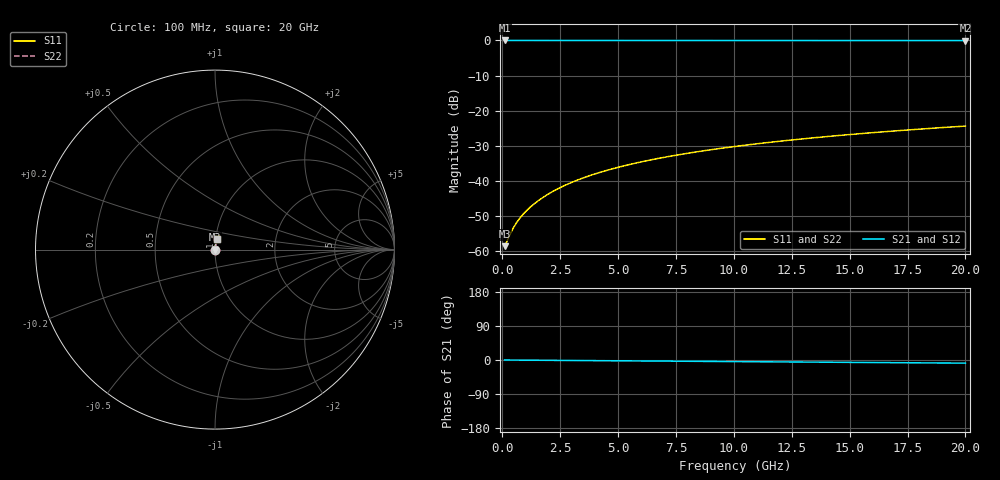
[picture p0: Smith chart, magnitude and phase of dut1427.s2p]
! Touchstone file exported from HFSS 2026.1.0
!  File:  C:/ffzhzh/LocalFiles/Ansys_Project_Files/temp_train_TMRDL_1427_1783166788_43440.aedt
!  Generated:  08:07:39 PM Jul  4, 2026
!  Design:  TMRDL
!  Project:  temp_train_TMRDL_1427_1783166788_43440
! Variables:
!  h_bsmrdl = 2um
!  h_ox = 20um
!  h_rdl = 5um
!  h_sub = 80um
!  h_tmrdl = 2.03um
!  h_tsv = 80um
!  h_via = 3um
!  l_bsmrdl = 300um
!  l_sub = 503.48um
!  l_tmrdl = 103.48um
!  m_sub = 200um
!  pitch = 42.18um
!  r_tsv = 6um
!  s_tmrdl = 10um
!  w_bsmrdl = 18um
!  w_sub = 500um
!  w_tmrdl = 29.87um
!  x_tsv_center1 = 118.415um
!  x_tsv_center2 = 436.415um
!  x_tsv_center3 = 569.765um
!  x_tsv_center4 = 887.765um
!  x_tsv_center5 = 1021.115um
!  x_tsv_center6 = 1339.115um
# GHz S MA R 50.000000
! Terminal data exported
! Port[1] = TM_RDL1_1_T1
! Port[2] = TM_RDL1_1_T2
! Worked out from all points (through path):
!   200 points, 100 MHz to 20 GHz, reference 50 ohm
!   highest |S21| = -0.01 dB at 100 MHz (marker M1); lowest = 0.0 dB at 20 GHz (marker M2)
!   group delay of S21, straight-line fit = 1.15 ps
!   lowest |S11| = -58.5 dB at 100 MHz (marker M3), VSWR 1.00, Z = 50.1 + j0.0387 ohm
!   |S11| at or under -10 dB: start of sweep to end of sweep
!   |S22| runs from -58.5 to -24.4 dB; largest |S21 - S12| = 2.2e-15
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0.1  0.001182 19.1  0.9989 -0.0  0.9989 -0.0  0.001182 19.1
! Gamma 0 0 0 0
! Port Impedance 50 0 50 0
0.4  0.001926 49.6  0.9988 -0.2  0.9988 -0.2  0.001926 49.6
0.5  0.002216 54.0  0.9987 -0.2  0.9987 -0.2  0.002216 54.0
0.6  0.002506 57.4  0.9987 -0.3  0.9987 -0.3  0.002506 57.4
0.7  0.002793 60.1  0.9986 -0.3  0.9986 -0.3  0.002793 60.1
0.9  0.003364 64.2  0.9986 -0.4  0.9986 -0.4  0.003364 64.2
1.1  0.003934 67.3  0.9985 -0.5  0.9985 -0.5  0.003934 67.3
1.3  0.004508 69.7  0.9985 -0.6  0.9985 -0.6  0.004508 69.7
1.8  0.005967 73.9  0.9984 -0.8  0.9984 -0.8  0.005967 73.9
2.3  0.007454 76.5  0.9984 -1.0  0.9984 -1.0  0.007454 76.5
2.9  0.00926 78.5  0.9983 -1.2  0.9983 -1.2  0.00926 78.5
3.5  0.01108 79.8  0.9983 -1.5  0.9983 -1.5  0.01108 79.8
4.2  0.01321 80.7  0.9982 -1.8  0.9982 -1.8  0.01321 80.7
5  0.01565 81.4  0.9981 -2.1  0.9981 -2.1  0.01565 81.4
5.9  0.0184 81.8  0.998 -2.5  0.998 -2.5  0.0184 81.8
6.8  0.02114 82.0  0.9979 -2.9  0.9979 -2.9  0.02114 82.0
8.3  0.0257 82.0  0.9976 -3.5  0.9976 -3.5  0.0257 82.0
10.1  0.03114 81.7  0.9973 -4.2  0.9973 -4.2  0.03114 81.7
11.7  0.03596 81.4  0.997 -4.9  0.997 -4.9  0.03596 81.4
13.4  0.04104 80.9  0.9967 -5.6  0.9967 -5.6  0.04104 80.9
16.7  0.05082 79.8  0.9959 -7.0  0.9959 -7.0  0.05082 79.8
20  0.06047 78.6  0.995 -8.3  0.995 -8.3  0.06047 78.6
